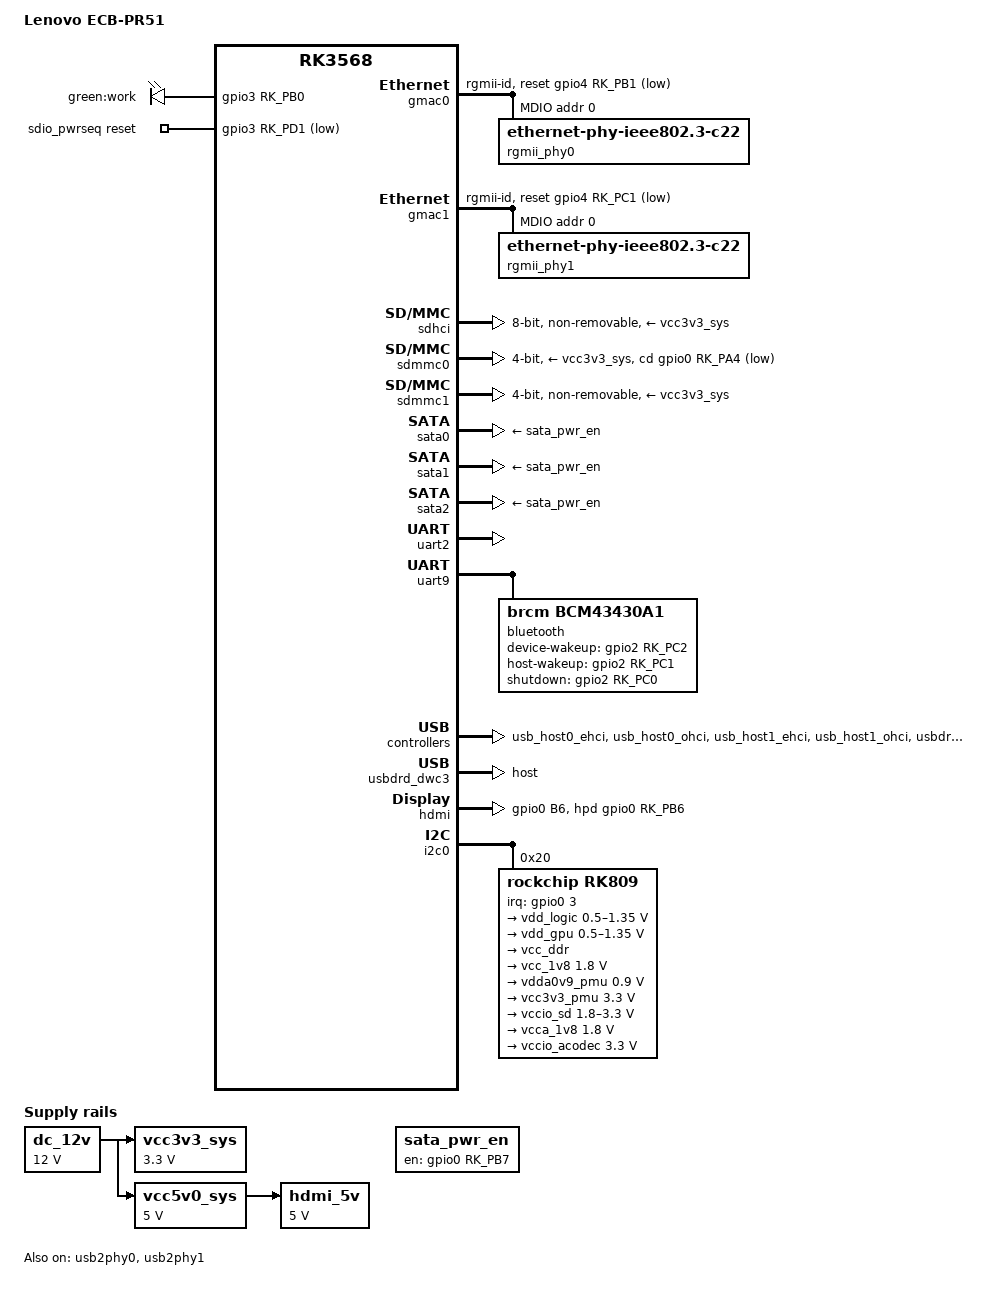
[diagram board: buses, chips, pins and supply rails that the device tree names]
// SPDX-License-Identifier: (GPL-2.0+ OR MIT)
/*
 * Device Tree Source for Lenovo ECB-PR51 Board
 *
 * Copyright (c) 2026 Lenovo Group Limited
 * Copyright (c) 2026 Rockchip Electronics Co., Ltd.
 *
 * Hardware Specifications:
 *   - SoC: Rockchip RK3568 (Quad-core Cortex-A55, Mali-G52 GPU, 0.8 TOPS NPU)
 *   - Memory: 8GB DDR4
 *   - Storage: 32GB eMMC 5.1, microSD card slot
 *   - Ethernet: Dual Gigabit Ethernet (RGMII)
 *   - Wireless: AP6256 (BCM4356 WiFi 5 + BT 5.0)
 *   - USB: 2x USB 3.0 Host, 1x USB 2.0 OTG
 *   - SATA: 3x SATA 3.0 (6Gbps)
 *   - Display: HDMI 2.0 (4K@60fps), eDP 1.3
 *   - Audio: I2S, S/PDIF, PDM
 *   - Debug: UART2 (1500000 8N1)
 *
 * Based on Rockchip RK3568 EVB1 DDR4 V10 reference design
 */

/dts-v1/;
#include <dt-bindings/gpio/gpio.h>
#include <dt-bindings/input/input.h>
#include <dt-bindings/interrupt-controller/arm-gic.h>
#include <dt-bindings/pinctrl/rockchip.h>
#include <dt-bindings/soc/rockchip,vop2.h>
#include "rk3568.dtsi"

/ {
    model = "Lenovo ECB-PR51";
    compatible = "lenovo,ecb-pr51", "rockchip,rk3568";

    aliases {
        ethernet0 = &gmac0;
        ethernet1 = &gmac1;
        mmc0 = &sdhci;
        mmc1 = &sdmmc0;
        mmc2 = &sdmmc1;
        serial2 = &uart2;
        usb0 = &usbdrd_dwc3;
        usb1 = &usb_host0_ehci;
        usb2 = &usb_host1_ehci;
    };

    chosen {
        stdout-path = "serial2:1500000n8";
    };

    /*
     * System Power Rails
     * DC 12V input → PMIC RK809 → Various voltage rails
     */
    dc_12v: dc-12v-regulator {
        compatible = "regulator-fixed";
        regulator-name = "dc_12v";
        regulator-always-on;
        regulator-boot-on;
        regulator-min-microvolt = <12000000>;
        regulator-max-microvolt = <12000000>;
    };

    vcc3v3_sys: vcc3v3-sys-regulator {
        compatible = "regulator-fixed";
        regulator-name = "vcc3v3_sys";
        regulator-always-on;
        regulator-boot-on;
        regulator-min-microvolt = <3300000>;
        regulator-max-microvolt = <3300000>;
        vin-supply = <&dc_12v>;
    };

    vcc5v0_sys: vcc5v0-sys-regulator {
        compatible = "regulator-fixed";
        regulator-name = "vcc5v0_sys";
        regulator-always-on;
        regulator-boot-on;
        regulator-min-microvolt = <5000000>;
        regulator-max-microvolt = <5000000>;
        vin-supply = <&dc_12v>;
    };

    /*
     * GMAC0 External Clock (125MHz for RGMII)
     * Generated by onboard crystal oscillator
     */
    gmac0_clkin: gmac0-clkin {
        compatible = "fixed-clock";
        clock-frequency = <125000000>;
        clock-output-names = "gmac0_clkin";
        #clock-cells = <0>;
    };

    /*
     * GMAC1 External Clock (125MHz for RGMII)
     * Generated by onboard crystal oscillator
     */
    gmac1_clkin: gmac1-clkin {
        compatible = "fixed-clock";
        clock-frequency = <125000000>;
        clock-output-names = "gmac1_clkin";
        #clock-cells = <0>;
    };

    /*
     * LED Indicators
     * Work LED: GPIO3_PB0, active high, heartbeat trigger
     */
    leds {
        compatible = "gpio-leds";
        pinctrl-names = "default";
        pinctrl-0 = <&work_led_pin>;

        work_led: work-led {
            gpios = <&gpio3 RK_PB0 GPIO_ACTIVE_HIGH>;
            linux,default-trigger = "heartbeat";
            label = "green:work";
        };
    };

    /*
     * WiFi/BT Power Sequencing
     * AP6256 module requires specific power-on sequence
     */
    sdio_pwrseq: sdio-pwrseq {
        compatible = "mmc-pwrseq-simple";
        pinctrl-names = "default";
        pinctrl-0 = <&wifi_enable_h>;
        reset-gpios = <&gpio3 RK_PD1 GPIO_ACTIVE_LOW>;
        clocks = <&rk809 1>;
        clock-names = "ext_clock";
        post-power-on-delay-ms = <200>;
    };

    /*
     * SATA 3.0 Power Enable
     * Controls power to SATA ports
     */
    sata_pwr_en: sata-pwr-en-regulator {
        compatible = "regulator-fixed";
        regulator-name = "sata_pwr_en";
        gpio = <&gpio0 RK_PB7 GPIO_ACTIVE_HIGH>;
        enable-active-high;
        regulator-always-on;
        regulator-boot-on;
    };

    /*
     * HDMI 5V Power
     * Supplied from 12V rail through LDO
     */
    hdmi_5v: hdmi-5v-regulator {
        compatible = "regulator-fixed";
        regulator-name = "hdmi_5v";
        regulator-always-on;
        regulator-boot-on;
        regulator-min-microvolt = <5000000>;
        regulator-max-microvolt = <5000000>;
        vin-supply = <&vcc5v0_sys>;
    };
};

/*
 * GMAC0 - Primary Ethernet Port (LAN1)
 * PHY: Integrated or external RGMII PHY
 * Connector: RJ45 with magnetics
 */
&gmac0 {
    compatible = "rockchip,rk3568-gmac", "snps,dwmac-4.20a";
    
    /* Clock configuration */
    clock-names = "stmmaceth", "pclk_rx", "pclk_tx", "ptp_ref";
    clocks = <&cru GMAC0_CLK>, <&cru GMAC0_RX>, <&cru GMAC0_TX>, <&cru GMAC0_PTP_REF>;
    assigned-clocks = <&cru GMAC0_TX>, <&cru GMAC0_RX>, <&cru GMAC0_PTP_REF>;
    assigned-clock-parents = <&cru GMAC0_TX>, <&cru GMAC0_RX>, <&gmac0_clkin>;
    assigned-clock-rates = <125000000>, <125000000>, <125000000>;
    clock_in_out = "input";
    
    /* PHY configuration */
    phy-mode = "rgmii-id";
    pinctrl-names = "default";
    pinctrl-0 = <&gmac0_miim &gmac0_tx_bus2 &gmac0_rx_bus2 &gmac0_rgmii_clk &gmac0_rgmii_bus>;
    
    /* Timing parameters (tuned for signal integrity) */
    rx_delay = <0x30>;  /* 48 * 15.625ps = 750ps */
    tx_delay = <0x2f>;  /* 47 * 15.625ps = 734ps */
    
    /* PHY reset */
    snps,reset-gpio = <&gpio4 RK_PB1 GPIO_ACTIVE_HIGH>;
    snps,reset-active-low;
    snps,reset-delays-us = <0 20000 100000>;
    
    rockchip,grf = <&grf>;
    status = "okay";

    mdio {
        compatible = "snps,dwmac-mdio";
        #address-cells = <1>;
        #size-cells = <0>;

        rgmii_phy0: ethernet-phy@0 {
            compatible = "ethernet-phy-ieee802.3-c22";
            reg = <0>;
            max-speed = <1000>;
        };
    };
};

/*
 * GMAC1 - Secondary Ethernet Port (LAN2)
 * PHY: Integrated or external RGMII PHY
 * Connector: RJ45 with magnetics
 */
&gmac1 {
    compatible = "rockchip,rk3568-gmac", "snps,dwmac-4.20a";
    
    /* Clock configuration */
    clock-names = "stmmaceth", "pclk_rx", "pclk_tx", "ptp_ref";
    clocks = <&cru GMAC1_CLK>, <&cru GMAC1_RX>, <&cru GMAC1_TX>, <&cru GMAC1_PTP_REF>;
    assigned-clocks = <&cru GMAC1_TX>, <&cru GMAC1_RX>, <&cru GMAC1_PTP_REF>;
    assigned-clock-parents = <&cru GMAC1_TX>, <&cru GMAC1_RX>, <&gmac1_clkin>;
    assigned-clock-rates = <125000000>, <125000000>, <125000000>;
    clock_in_out = "input";
    
    /* PHY configuration */
    phy-mode = "rgmii-id";
    pinctrl-names = "default";
    pinctrl-0 = <&gmac1m1_miim &gmac1m1_tx_bus2 &gmac1m1_rx_bus2 &gmac1m1_rgmii_clk &gmac1m1_rgmii_bus>;
    
    /* Timing parameters (tuned for signal integrity) */
    rx_delay = <0x26>;  /* 38 * 15.625ps = 594ps */
    tx_delay = <0x4f>;  /* 79 * 15.625ps = 1234ps */
    
    /* PHY reset */
    snps,reset-gpio = <&gpio4 RK_PC1 GPIO_ACTIVE_HIGH>;
    snps,reset-active-low;
    snps,reset-delays-us = <0 20000 100000>;
    
    rockchip,grf = <&grf>;
    status = "okay";

    mdio {
        compatible = "snps,dwmac-mdio";
        #address-cells = <1>;
        #size-cells = <0>;

        rgmii_phy1: ethernet-phy@0 {
            compatible = "ethernet-phy-ieee802.3-c22";
            reg = <0>;
            max-speed = <1000>;
        };
    };
};

/*
 * eMMC Storage
 * 32GB eMMC 5.1, 8-bit interface, up to 200MHz
 */
&sdhci {
    bus-width = <8>;
    max-frequency = <200000000>;
    non-removable;
    pinctrl-names = "default";
    pinctrl-0 = <&emmc_bus8 &emmc_cmd &emmc_clk>;
    vmmc-supply = <&vcc3v3_sys>;
    vqmmc-supply = <&vccio_sd>;
    status = "okay";
};

/*
 * SD Card Slot
 * 4-bit SDIO, card detect, write protect
 */
&sdmmc0 {
    bus-width = <4>;
    cap-sd-highspeed;
    cd-gpios = <&gpio0 RK_PA4 GPIO_ACTIVE_LOW>;
    disable-wp;
    pinctrl-names = "default";
    pinctrl-0 = <&sdmmc0_bus4 &sdmmc0_cmd &sdmmc0_clk>;
    vmmc-supply = <&vcc3v3_sys>;
    vqmmc-supply = <&vccio_sd>;
    status = "okay";
};

/*
 * SDIO for WiFi Module (AP6256)
 * 4-bit SDIO, BCM4356 WiFi 5
 */
&sdmmc1 {
    bus-width = <4>;
    cap-sd-highspeed;
    cap-sdio-irq;
    keep-power-in-suspend;
    non-removable;
    pinctrl-names = "default";
    pinctrl-0 = <&sdmmc1_bus4 &sdmmc1_cmd &sdmmc1_clk>;
    vmmc-supply = <&vcc3v3_sys>;
    vqmmc-supply = <&vccio_sd>;
    mmc-pwrseq = <&sdio_pwrseq>;
    status = "okay";
};

/*
 * SATA Controller 0
 * SATA 3.0 (6Gbps), AHCI mode
 */
&sata0 {
    pinctrl-names = "default";
    pinctrl-0 = <&sata0_pins>;
    phy-supply = <&sata_pwr_en>;
    target-supply = <&sata_pwr_en>;
    status = "okay";
};

/*
 * SATA Controller 1
 * SATA 3.0 (6Gbps), AHCI mode
 */
&sata1 {
    pinctrl-names = "default";
    pinctrl-0 = <&sata1_pins>;
    phy-supply = <&sata_pwr_en>;
    target-supply = <&sata_pwr_en>;
    status = "okay";
};

/*
 * SATA Controller 2
 * SATA 3.0 (6Gbps), AHCI mode
 */
&sata2 {
    pinctrl-names = "default";
    pinctrl-0 = <&sata2_pins>;
    phy-supply = <&sata_pwr_en>;
    target-supply = <&sata_pwr_en>;
    status = "okay";
};

/*
 * Debug UART (Serial Console)
 * 1500000 8N1, accessible via debug header
 */
&uart2 {
    pinctrl-names = "default";
    pinctrl-0 = <&uart2m0_xfer>;
    status = "okay";
};

/*
 * UART9 for Bluetooth Module
 * BCM43430A1 Bluetooth 5.0
 */
&uart9 {
    pinctrl-names = "default";
    pinctrl-0 = <&uart9m0_xfer &uart9m0_ctsn &uart9m0_rtsn>;
    status = "okay";

    bluetooth {
        compatible = "brcm,bcm43430a1";
        clocks = <&rk809 1>;
        clock-names = "lpo";
        device-wakeup-gpios = <&gpio2 RK_PC2 GPIO_ACTIVE_HIGH>;
        host-wakeup-gpios = <&gpio2 RK_PC1 GPIO_ACTIVE_HIGH>;
        shutdown-gpios = <&gpio2 RK_PC0 GPIO_ACTIVE_HIGH>;
    };
};

/*
 * USB 2.0 PHY 0
 * Connected to USB Host 0
 */
&usb2phy0 {
    status = "okay";
};

/*
 * USB 2.0 PHY 1
 * Connected to USB Host 1
 */
&usb2phy1 {
    status = "okay";
};

/*
 * USB Host 0 (EHCI)
 * USB 2.0 Host controller
 */
&usb_host0_ehci {
    status = "okay";
};

&usb_host0_ohci {
    status = "okay";
};

/*
 * USB Host 1 (EHCI)
 * USB 2.0 Host controller
 */
&usb_host1_ehci {
    status = "okay";
};

&usb_host1_ohci {
    status = "okay";
};

/*
 * USB 3.0 DWC3 Controller
 * Configured as Host mode
 */
&usbdrd3 {
    status = "okay";
};

&usbdrd_dwc3 {
    dr_mode = "host";
    status = "okay";
};

/*
 * HDMI Controller
 * HDMI 2.0, supports 4K@60fps
 */
&hdmi {
    pinctrl-names = "default";
    pinctrl-0 = <&hdmi_i2c_xfer &hdmi_cec>;
    ddc-en-gpios = <&gpio0 RK_PB5 GPIO_ACTIVE_HIGH>;
    hpd-gpios = <&gpio0 RK_PB6 GPIO_ACTIVE_HIGH>;
    pinctrl-0 = <&hdmi_hpd>;
    status = "okay";
};

/*
 * PMIC I2C Bus
 * RK809 Power Management IC
 */
&i2c0 {
    pinctrl-names = "default";
    pinctrl-0 = <&i2c0_xfer>;
    status = "okay";

    rk809: pmic@20 {
        compatible = "rockchip,rk809";
        reg = <0x20>;
        pinctrl-names = "default";
        pinctrl-0 = <&pmic_int_l>;
        interrupt-parent = <&gpio0>;
        interrupts = <3 IRQ_TYPE_LEVEL_LOW>;
        #clock-cells = <1>;
        clock-output-names = "rk808-clkout1", "rk808-clkout2";
        wakeup-source;

        regulators {
            vdd_logic: DCDC_REG1 {
                regulator-name = "vdd_logic";
                regulator-min-microvolt = <500000>;
                regulator-max-microvolt = <1350000>;
                regulator-initial-mode = <0x2>;
                regulator-always-on;
                regulator-boot-on;
            };

            vdd_gpu: DCDC_REG2 {
                regulator-name = "vdd_gpu";
                regulator-min-microvolt = <500000>;
                regulator-max-microvolt = <1350000>;
                regulator-initial-mode = <0x2>;
                regulator-always-on;
                regulator-boot-on;
            };

            vcc_ddr: DCDC_REG3 {
                regulator-name = "vcc_ddr";
                regulator-always-on;
                regulator-boot-on;
            };

            vcc_1v8: DCDC_REG4 {
                regulator-name = "vcc_1v8";
                regulator-min-microvolt = <1800000>;
                regulator-max-microvolt = <1800000>;
                regulator-always-on;
                regulator-boot-on;
            };

            vdda0v9_pmu: LDO_REG3 {
                regulator-name = "vdda0v9_pmu";
                regulator-min-microvolt = <900000>;
                regulator-max-microvolt = <900000>;
                regulator-always-on;
                regulator-boot-on;
            };

            vcc3v3_pmu: LDO_REG6 {
                regulator-name = "vcc3v3_pmu";
                regulator-min-microvolt = <3300000>;
                regulator-max-microvolt = <3300000>;
                regulator-always-on;
                regulator-boot-on;
            };

            vccio_sd: LDO_REG5 {
                regulator-name = "vccio_sd";
                regulator-min-microvolt = <1800000>;
                regulator-max-microvolt = <3300000>;
                regulator-always-on;
                regulator-boot-on;
            };

            vcca_1v8: LDO_REG7 {
                regulator-name = "vcca_1v8";
                regulator-min-microvolt = <1800000>;
                regulator-max-microvolt = <1800000>;
                regulator-always-on;
                regulator-boot-on;
            };

            vccio_acodec: LDO_REG4 {
                regulator-name = "vccio_acodec";
                regulator-min-microvolt = <3300000>;
                regulator-max-microvolt = <3300000>;
                regulator-always-on;
                regulator-boot-on;
            };
        };
    };
};

/*
 * Pin Control Configuration
 */
&pinctrl {
    /* LED Control */
    work_led_pin: work-led-pin {
        rockchip,pins = <3 RK_PB0 RK_FUNC_GPIO &pcfg_pull_none>;
    };

    /* WiFi Enable */
    wifi_enable_h: wifi-enable-h {
        rockchip,pins = <3 RK_PD1 RK_FUNC_GPIO &pcfg_pull_none>;
    };

    /* PMIC Interrupt */
    pmic_int_l: pmic-int-l {
        rockchip,pins = <0 RK_PB3 RK_FUNC_GPIO &pcfg_pull_up>;
    };

    /* SATA Power Enable */
    sata_pwr_en_pin: sata-pwr-en-pin {
        rockchip,pins = <0 RK_PB7 RK_FUNC_GPIO &pcfg_pull_none>;
    };

    /* HDMI HPD */
    hdmi_hpd: hdmi-hpd {
        rockchip,pins = <0 RK_PB6 RK_FUNC_GPIO &pcfg_pull_up>;
    };
};
